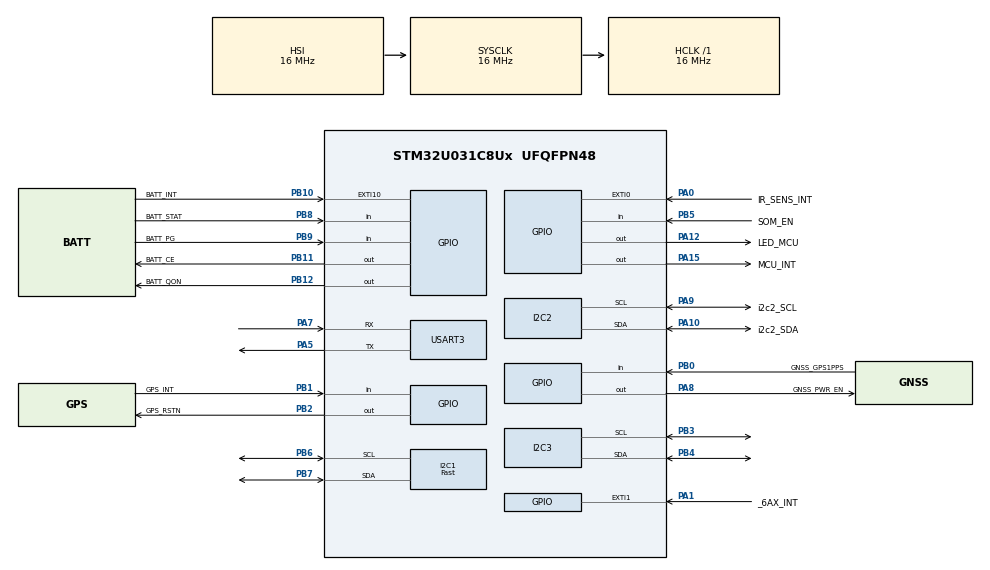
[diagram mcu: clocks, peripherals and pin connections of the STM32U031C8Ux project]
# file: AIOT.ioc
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I2C1.I2C_Speed_Mode=I2C_Fast
I2C1.Timing=0x0010061A
I2C2.Analog_Filter=I2C_ANALOGFILTER_DISABLE
I2C2.OwnAddress=24
I2C2.Timing=0x00303D5D
I2C3.Timing=0x00303D5B
LPTIM2.ClockPrescaler=LPTIM_PRESCALER_DIV8
Mcu.Family=STM32U0
Mcu.Name=STM32U031C8Ux
Mcu.Package=UFQFPN48
NVIC.EXTI0_1_IRQn=true\:1\:0\:true\:false\:true\:true\:true\:true
NVIC.EXTI4_15_IRQn=true\:1\:0\:true\:false\:true\:true\:true\:true
NVIC.I2C2_3_IRQn=true\:1\:0\:true\:false\:true\:true\:true\:true
NVIC.PriorityGroup=NVIC_PRIORITYGROUP_2
NVIC.RTC_TAMP_IRQn=true\:1\:0\:true\:false\:true\:true\:true\:true
NVIC.TIM6_DAC_LPTIM1_IRQn=true\:1\:0\:true\:false\:true\:true\:true\:true
NVIC.TIM7_LPTIM2_IRQn=true\:0\:0\:false\:false\:true\:true\:true\:true
PA0.GPIO_Label=IR_SENS_INT
PA0.GPIO_PuPd=GPIO_NOPULL
PA0.Signal=GPXTI0
PA1.GPIO_Label=_6AX_INT
PA1.Signal=GPXTI1
PA10.GPIO_Label=i2c2_SDA
PA10.GPIO_Pu=GPIO_PULLUP
PA10.Mode=I2C
PA10.Signal=I2C2_SDA
PA12\ [PA10].GPIO_Label=LED_MCU
PA12\ [PA10].Signal=GPIO_Output
PA15.GPIO_Label=MCU_INT
PA15.GPIO_ModeDefaultOutputPP=GPIO_MODE_OUTPUT_OD
PA15.PinState=GPIO_PIN_SET
PA15.Signal=GPIO_Output
PA5.Mode=Asynchronous
PA5.Signal=USART3_TX
PA7.Mode=Asynchronous
PA7.Signal=USART3_RX
PA8.GPIO_Label=GNSS_PWR_EN
PA8.PinState=GPIO_PIN_SET
PA8.Signal=GPIO_Output
PA9.GPIO_Label=i2c2_SCL
PA9.GPIO_Mode=GPIO_MODE_AF_OD
PA9.GPIO_Pu=GPIO_PULLUP
PA9.Mode=I2C
PA9.Signal=I2C2_SCL
PB0.GPIO_Label=GNSS_GPS1PPS
PB0.Signal=GPIO_Input
PB1.GPIO_Label=GPS_INT
PB1.Signal=GPIO_Input
PB10.GPIO_Label=BATT_INT
PB10.Signal=GPXTI10
PB11.GPIO_Label=BATT_CE
PB11.Signal=GPIO_Output
PB12.GPIO_Label=BATT_QON
PB12.PinState=GPIO_PIN_SET
PB12.Signal=GPIO_Output
PB2.GPIO_Label=GPS_RSTN
PB2.PinState=GPIO_PIN_SET
PB2.Signal=GPIO_Output
PB3.Mode=I2C
PB3.Signal=I2C3_SCL
PB4.Mode=I2C
PB4.Signal=I2C3_SDA
PB5.GPIO_Label=SOM_EN
PB5.Signal=GPIO_Input
PB6.Mode=I2C
PB6.Signal=I2C1_SCL
PB7.Mode=I2C
PB7.Signal=I2C1_SDA
PB8.GPIO_Label=BATT_STAT
PB8.Signal=GPIO_Input
PB9.GPIO_Label=BATT_PG
PB9.GPIO_PuPd=GPIO_PULLUP
PB9.Signal=GPIO_Input
PC14-OSC32_IN.Mode=LSE-External-Oscillator
PC14-OSC32_IN.Signal=RCC_OSC32_IN
PC15-OSC32_OUT.Mode=LSE-External-Oscillator
PC15-OSC32_OUT.Signal=RCC_OSC32_OUT
ProjectManager.HeapSize=0x200
ProjectManager.StackSize=0x400
ProjectManager.TargetToolchain=STM32CubeIDE
RCC.AHBFreq_Value=16000000
RCC.CortexFreq_Value=16000000
RCC.HCLKFreq_Value=16000000
RCC.HSE_VALUE=4000000
RCC.HSI48_VALUE=48000000
RCC.HSI_VALUE=16000000
RCC.LPTIM2CLockSelection=RCC_LPTIM2CLKSOURCE_LSE
RCC.MSI_VALUE=4000000
RCC.RTCClockSelection=RCC_RTCCLKSOURCE_LSE
RCC.SYSCLKFreq_VALUE=16000000
RCC.VCOOutputFreq_Value=64000000
RTC.Alarm-Alarm\ A=RTC_ALARM_A
RTC.AlarmMaskDateWeekDay-Alarm\ A=RTC_ALARMMASK_DATEWEEKDAY
RTC.AlarmMaskHours-Alarm\ A=RTC_ALARMMASK_HOURS
RTC.AlarmMaskMinutes-Alarm\ A=RTC_ALARMMASK_MINUTES
RTC.Format=RTC_FORMAT_BIN
RTC.Seconds_A-Alarm\ A=1
RTC.SynchPrediv=255
TIM6.Period=999
TIM6.Prescaler=15999
USART3.VirtualMode-Asynchronous=VM_ASYNC
VP_FLASH_SIG_Activate_FlashIP.Mode=Activate_FlashIP
VP_LPTIM2_VS_LPTIM_counterModeInternalClock.Mode=Counts__internal_clock_event_00
VP_PWR_VS_SECSignals.Mode=Security/Privilege
VP_RTC_VS_RTC_Activate.Mode=RTC_Enabled
VP_RTC_VS_RTC_Alarm_A_Intern.Mode=Alarm A
VP_RTC_VS_RTC_Calendar.Mode=RTC_Calendar
VP_TIM6_VS_ClockSourceINT.Mode=Enable_Timer
board=custom

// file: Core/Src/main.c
/* USER CODE BEGIN Header */
/**
  ******************************************************************************
  * @file           : main.c
  * @brief          : Main program body
  ******************************************************************************
  * @attention
  *
  * Copyright (c) 2025 STMicroelectronics.
  * All rights reserved.
  *
  * This software is licensed under terms that can be found in the LICENSE file
  * in the root directory of this software component.
  * If no LICENSE file comes with this software, it is provided AS-IS.
  *
  ******************************************************************************
  */
/* USER CODE END Header */
#include "main.h"
#include "flash.h"
#include "i2c.h"
#include "lptim.h"
#include "rtc.h"
#include "tim.h"
#include "usart.h"
#include "gpio.h"

/* USER CODE BEGIN Includes */
#include <string.h>
#include "stdio.h"
#include "ir_sensor.h"
#include "acc_sensor.h"
#include "ublox.h"
#include "bq25638.h"
#include "rtc.h"
#include "i2c_slave.h"
#include "nmea.h"
#include "timebase.h"
/* USER CODE END Includes */

/* USER CODE BEGIN PTD */
extern volatile bool sensors_ready;
volatile uint8_t IR_INT;
volatile uint8_t ACC_INT;
volatile uint8_t MCU_INT;
volatile uint8_t INT_SOURCES;
volatile uint8_t RTC_INT;
volatile bool gps_time_synced = false;      // GPS time was successfully synchronized
volatile bool gps_time_sync_request = false; // Request to try GPS time synchronization
/* USER CODE END PTD */

/* USER CODE BEGIN PD */
#define RTC_RESYNC_MS 3600000U   /* re-sync the calendar once an hour */
/* USER CODE END PD */

/* USER CODE BEGIN PV */

/* SoM power-off internal state, accessed from i2c irq and main */
static volatile bool     som_off_pending  = false;
static volatile uint32_t som_off_deadline = 0;

/* USER CODE END PV */

void SystemClock_Config(void);
/* USER CODE BEGIN PFP */

void HAL_GPIO_EXTI_Rising_Callback(uint16_t GPIO_Pin)
{
	if (!sensors_ready) { return; }

    if (GPIO_Pin == IR_SENS_INT_Pin){
    	IR_HandleInt();
    }
    if (GPIO_Pin == _6AX_INT_Pin){
    	ACC_HandleInt();
    }

}

// Enable VIN_SOM_EN
void SomEnable(void) {
    /* regulator enable pin is active-low, low = on */
    HAL_GPIO_WritePin(SOM_EN_GPIO_Port, SOM_EN_Pin, GPIO_PIN_RESET);
}

// Disable VIN_SOM_EN
void SomDisable(void) {
    /* regulator enable pin is active-low, high = off */
    HAL_GPIO_WritePin(SOM_EN_GPIO_Port, SOM_EN_Pin, GPIO_PIN_SET);
}

/*
 * Delayed power-off for SoM:
 *
 * Pass delay in ms, cannot be canceled, processed in main.
 */
void SomScheduleOff(uint16_t delay_ms) {
  som_off_deadline = HAL_GetTick() + delay_ms;
  som_off_pending  = true;
}

/* Interrupt reporting configuration, in the wire order of 0x13 0x07.
 *
 * en_sources gates whole sources and pwr_sources selects which of the sources
 * that got through power the SOM up, so the two source masks sit together;
 * en_mcu/en_ir/en_acc/en_rtc gate the individual events within a source, one
 * per source bit in order.
 *
 * The defaults report everything and reproduce the power behaviour the
 * firmware had before the command existed: a sensor or alarm event brings the
 * SOM up, the firmware's own restart notification does not.
 */
static volatile struct {
	uint8_t en_sources;
	uint8_t pwr_sources;
	uint8_t en_mcu;
	uint8_t en_ir;
	uint8_t en_acc;
	uint8_t en_rtc;
} int_cfg = {
	0xFFU,
	INT_SRC_IR | INT_SRC_ACCEL | INT_SRC_RTC,
	0xFFU, 0xFFU, 0xFFU, 0xFFU,
};

/* Report the interrupt configuration, INT_CONFIG_LEN bytes in wire order.
 */
void somGetIntConfig(uint8_t *out)
{
	out[0] = int_cfg.en_sources;
	out[1] = int_cfg.pwr_sources;
	out[2] = int_cfg.en_mcu;
	out[3] = int_cfg.en_ir;
	out[4] = int_cfg.en_acc;
	out[5] = int_cfg.en_rtc;
}

/* Replace the interrupt configuration, INT_CONFIG_LEN bytes in wire order.
 *
 * Applied as one indivisible operation, so an event in flight is judged
 * against either the old configuration or the new one, never a mix.
 */
void somSetIntConfig(const uint8_t *in)
{
	uint32_t primask = __get_PRIMASK();

	__disable_irq();

	int_cfg.en_sources  = in[0];
	int_cfg.pwr_sources = in[1];
	int_cfg.en_mcu      = in[2];
	int_cfg.en_ir       = in[3];
	int_cfg.en_acc      = in[4];
	int_cfg.en_rtc      = in[5];

	__set_PRIMASK(primask);
}

/* Record an interrupt source together with its detail bits, and assert the
 * line to the SOM. The source bit and its detail byte are set as one
 * indivisible operation, so a read of the interrupt status never sees one
 * without the other.
 *
 * A zero detail byte means there is nothing to report and the call does
 * nothing. INT_SRC_MCU carries no detail byte in the response, so it passes
 * any non-zero value to raise the source on its own.
 */
void somSetInt(uint8_t source, uint8_t detail)
{
	uint32_t primask;

	/* keep only the events this source is configured to report */
	switch (source) {
	case INT_SRC_MCU:   detail &= int_cfg.en_mcu; break;
	case INT_SRC_IR:    detail &= int_cfg.en_ir;  break;
	case INT_SRC_ACCEL: detail &= int_cfg.en_acc; break;
	case INT_SRC_RTC:   detail &= int_cfg.en_rtc; break;
	default: break;      /* no other source is defined */
	}

	/* nothing to report */
	if (detail == 0)
		return;

	/* the source itself may be switched off */
	if ((source & int_cfg.en_sources) == 0U)
		return;

	/* the SOM has to be powered to receive what it asked to be woken for */
	if ((source & int_cfg.pwr_sources) != 0U)
		SomEnable();

	primask = __get_PRIMASK();

	__disable_irq();

	INT_SOURCES |= source;

	switch (source) {
	case INT_SRC_MCU:   MCU_INT |= detail; break;
	case INT_SRC_IR:    IR_INT  |= detail; break;
	case INT_SRC_ACCEL: ACC_INT |= detail; break;
	case INT_SRC_RTC:   RTC_INT |= detail; break;
	default: break;      /* no other source is defined */
	}

	/* assert: drive the line low */
	HAL_GPIO_WritePin(MCU_INT_GPIO_Port, MCU_INT_Pin, GPIO_PIN_RESET);

	__set_PRIMASK(primask);
}

/* Snapshot and clear the source bitmap and every detail latch, and release the
 * line to the SOM, as one indivisible operation.
 */
void somTakeInterrupts(uint8_t *sources, uint8_t *mcu, uint8_t *ir, uint8_t *acc,
                       uint8_t *rtc)
{
	uint32_t primask = __get_PRIMASK();

	__disable_irq();

	*sources = (uint8_t)INT_SOURCES;
	*mcu     = (uint8_t)MCU_INT;
	*ir      = (uint8_t)IR_INT;
	*acc     = (uint8_t)ACC_INT;
	*rtc     = (uint8_t)RTC_INT;

	INT_SOURCES = 0;
	MCU_INT     = 0;
	IR_INT      = 0;
	ACC_INT     = 0;
	RTC_INT     = 0;

	/* deassert: release the line back to the external pull-up */
	HAL_GPIO_WritePin(MCU_INT_GPIO_Port, MCU_INT_Pin, GPIO_PIN_SET);

	__set_PRIMASK(primask);
}

void resetI2C2(void){
	HAL_I2C_DeInit(&hi2c2);
	MX_I2C2_Init();
	/* re-arm slave after deinit&init */
	I2C_Slave_Init();
}

/* USER CODE END PFP */

int main(void)
{

  /* MCU Configuration--------------------------------------------------------*/

  /* Reset of all peripherals, Initializes the Flash interface and the Systick. */
  HAL_Init();

  /* Configure the system clock */
  SystemClock_Config();

  /* Initialize all configured peripherals */
  MX_GPIO_Init();
  MX_FLASH_Init();
  MX_I2C3_Init();
  MX_I2C1_Init();
  MX_RTC_Init();
  MX_I2C2_Init();
  MX_USART3_UART_Init();
  MX_TIM6_Init();
  MX_LPTIM2_Init();
  /* USER CODE BEGIN 2 */

  /* Start the tick counter before anything that timestamps with it. */
  Timebase_Init();

  /* change som-enable pin from input to output following initial electrical state */
  GPIO_InitSomEnablePin();

  /* Alarm A can be armed from a previous power cycle - by this firmware, or by
   * the CubeMX block in MX_RTC_Init() on the board's very first boot. Sort out
   * which before anything can raise an interrupt. */
  rtc_alarmInit();

  HAL_Delay(1500);

  ACC_Init();

  IR_SENSOR_Init();

  BQ25638_Init();

  /* Both sensor drivers are up, so it is now safe to bring up the interrupt
   * lines they share. Doing this here rather than in MX_GPIO_Init() is what
   * keeps an edge from reaching a driver that has no bus IO registered yet. */
  GPIO_EnableSensorInterrupts();

  /* Arm the i2c slave */
  I2C_Slave_Init();

  // mcu (re-)start should notify SoM, but not modify current power-state
  somSetInt(INT_SRC_MCU, INT_MCU_RESTART);
  HAL_TIM_Base_Start_IT(&htim6);
  UBlox_Init();          /* discard the GNSS backlog */
  /* USER CODE END 2 */

  /* Infinite loop */
  /* USER CODE BEGIN WHILE */

  static uint16_t led_flag=0;
  static uint32_t last_pump = 0;
  static uint32_t last_sync = 0;

  /* A reset does not invalidate the calendar. Believe the backup domain rather
   * than the RAM flag, so the SOM is not told the time is unverified when the
   * cell has been keeping it right all along. */
  gps_time_synced = rtc_gpsSyncIsValid();
  while (1)
  {
	 led_flag++;
	 if(led_flag>100){
		 HAL_GPIO_TogglePin(LED_MCU_GPIO_Port, LED_MCU_Pin);
		 led_flag = 0;
	 }

	 /* Per-driver high-priority interrupt post-processing. A driver handles its
	  * interrupt on the mcu side and returns the part of it, if any, that the
	  * SOM is to be notified about. */
	 {
		 uint8_t detail;

		 ACC_ProcessInt(&detail);
		 somSetInt(INT_SRC_ACCEL, detail);

		 IR_ProcessInt(&detail);
		 somSetInt(INT_SRC_IR, detail);
	 }

	 /* Per-driver processing, once per iteration. Each decides for itself whether there is work to do. */
	 ACC_Process();
	 IR_Process();
	 BQ25638_Process();

	 /* Drain the GNSS on a fixed cadence. Measured output is ~370 B/s with no
	  * fix and two to three times that with one, so a 20 ms gap accumulates a
	  * few dozen bytes at most and the module's buffer never builds up. */
	 if ((HAL_GetTick() - last_pump) >= 20U) {
		 last_pump = HAL_GetTick();
		 UBlox_Pump();
	 }
	 ////////////////////////
	 /* Keep the calendar right from GNSS, with no help from the SOM. RMC gives
	  * a fresh time every second once there is a fix; the RTC only needs it
	  * once, and then once an hour to stay inside the LSE's 20 ppm. */
	 {
		 nmea_time_t t;
		 if ((!gps_time_synced ||
		      (HAL_GetTick() - last_sync) >= RTC_RESYNC_MS) &&
		     NMEA_GetTime(&t)) {
			 rtc_updeteTime(t.hour, t.min, t.sec);
			 rtc_updeteDate(t.month, t.day, t.year);
			 rtc_markGpsSynced();
			 gps_time_synced = true;
			 last_sync = HAL_GetTick();
		 }
	 }

	 /* The SOM's "sync now" command just clears the flag; the block above does
	  * the work on the next RMC. */
	 if (gps_time_sync_request){
		 gps_time_synced = false;
		 gps_time_sync_request = false;
	 }

    /* process scheduled SoM power-off */
    if (som_off_pending) {
      /* distance in ms between current time and deadline: negative = deadline in future, positive = deadline in past */
      int32_t distance = HAL_GetTick() - som_off_deadline;
      if (distance >= 0) {
        som_off_pending = false;
        SomDisable();
      }
    }

	 HAL_Delay(1);
    /* USER CODE END WHILE */

  }
}

void SystemClock_Config(void)
{
  RCC_OscInitTypeDef RCC_OscInitStruct = {0};
  RCC_ClkInitTypeDef RCC_ClkInitStruct = {0};

  /** Configure the main internal regulator output voltage
  */
  HAL_PWREx_ControlVoltageScaling(PWR_REGULATOR_VOLTAGE_SCALE2);

  /** Configure LSE Drive Capability
  */
  HAL_PWR_EnableBkUpAccess();
  __HAL_RCC_LSEDRIVE_CONFIG(RCC_LSEDRIVE_LOW);

  /** Initializes the RCC Oscillators according to the specified parameters
  * in the RCC_OscInitTypeDef structure.
  */
  RCC_OscInitStruct.OscillatorType = RCC_OSCILLATORTYPE_HSI|RCC_OSCILLATORTYPE_LSE;
  RCC_OscInitStruct.LSEState = RCC_LSE_ON;
  RCC_OscInitStruct.HSIState = RCC_HSI_ON;
  RCC_OscInitStruct.HSICalibrationValue = RCC_HSICALIBRATION_DEFAULT;
  RCC_OscInitStruct.PLL.PLLState = RCC_PLL_NONE;
  if (HAL_RCC_OscConfig(&RCC_OscInitStruct) != HAL_OK)
  {
    Error_Handler();
  }

  /** Initializes the CPU, AHB and APB buses clocks
  */
  RCC_ClkInitStruct.ClockType = RCC_CLOCKTYPE_HCLK|RCC_CLOCKTYPE_SYSCLK
                              |RCC_CLOCKTYPE_PCLK1;
  RCC_ClkInitStruct.SYSCLKSource = RCC_SYSCLKSOURCE_HSI;
  RCC_ClkInitStruct.AHBCLKDivider = RCC_SYSCLK_DIV1;
  RCC_ClkInitStruct.APB1CLKDivider = RCC_HCLK_DIV1;

  if (HAL_RCC_ClockConfig(&RCC_ClkInitStruct, FLASH_LATENCY_1) != HAL_OK)
  {
    Error_Handler();
  }
}

/* USER CODE BEGIN 4 */
int _write(int fd, char * ptr, int len)
{
  HAL_UART_Transmit(&huart3, (uint8_t *) ptr, len, HAL_MAX_DELAY);
  return len;
}
/* USER CODE END 4 */

void Error_Handler(void)
{
  __disable_irq();
  while (1)
  {
  }
}
